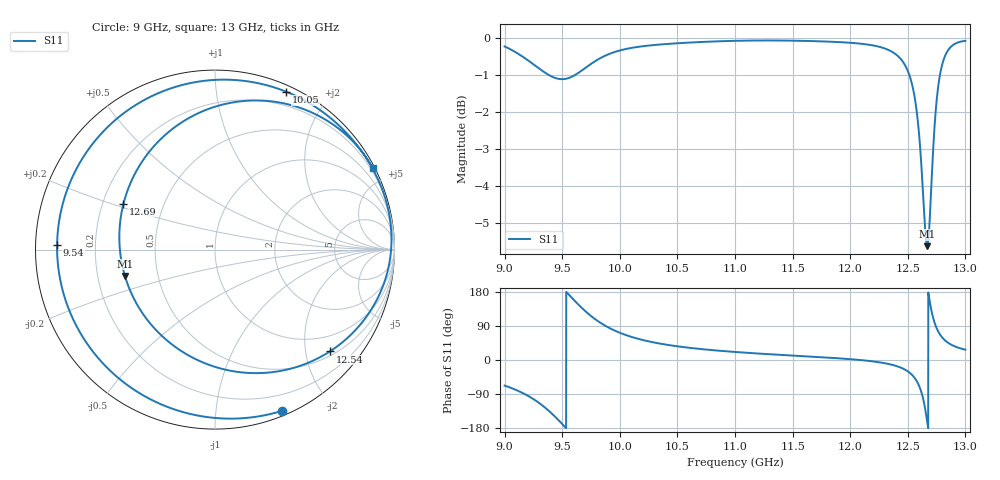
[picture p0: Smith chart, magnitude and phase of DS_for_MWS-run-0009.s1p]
! TOUCHSTONE file generated by CST DESIGN STUDIO
! Date and time: Tue Feb  4 12:42:34 2025
! Project name: C:\Work\MatlabApps\UnitCellOptimizationMatlab\CST\unitcell.cst
! Tree item: Tasks\Sweep1\SPara1\S-Parameters
! Header version: 2024
! Port assignment regex: !\s*Touchstone port\s*([0-9]+)\s*=\s*(CST MWS port|CST DES external port|CST DES block port)\s*(.+)\s* \(\"(.*)\"\)(\s*mode\s*([0-9]+))?.*
! Touchstone port assignment:
! Touchstone port 1 = CST DES external port 1 ("")
# GHz S MA R 50
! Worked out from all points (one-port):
!   4001 points, 9 GHz to 13 GHz, reference 50 ohm
!   lowest |S11| = -5.6 dB at 12.67 GHz (marker M1), VSWR 3.19, Z = 15.9 - j6.47 ohm
!   |S11| at or under -10 dB: nowhere
!   S11 on the Smith chart (normalised r, x): 9 GHz: 0.04, -1.50; 9.54 GHz: 0.06, +0.02; 10.05 GHz: 0.06, +1.55; 12.54 GHz: 0.59, -2.51; 12.69 GHz: 0.29, +0.22; 13 GHz: 0.09, +4.12
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9  0.9726 -67.5
9.168  0.9397 -88.8
9.289  0.9107 -111.1
9.393  0.8885 -136.7
9.5  0.8786 -168.9
9.54  0.8802 178.2
9.63  0.8938 149.4
9.75  0.9213 116.1
9.857  0.9425 93.4
10  0.9606 71.9
10.054  0.965 65.7
10.5  0.9823 36.1
11  0.9898 21.2
11.5  0.9902 11.7
12  0.9838 2.2
12.313  0.9649 -9.2
12.5  0.9015 -29.9
12.544  0.8551 -41.6
12.583  0.7816 -58.6
12.619  0.668 -86.0
12.644  0.5723 -117.9
12.669  0.523 -163.6
12.691  0.5705 153.3
12.725  0.7281 105.8
12.761  0.8518 77.1
12.801  0.9225 58.6
12.849  0.9609 45.6
13  0.9896 27.2
